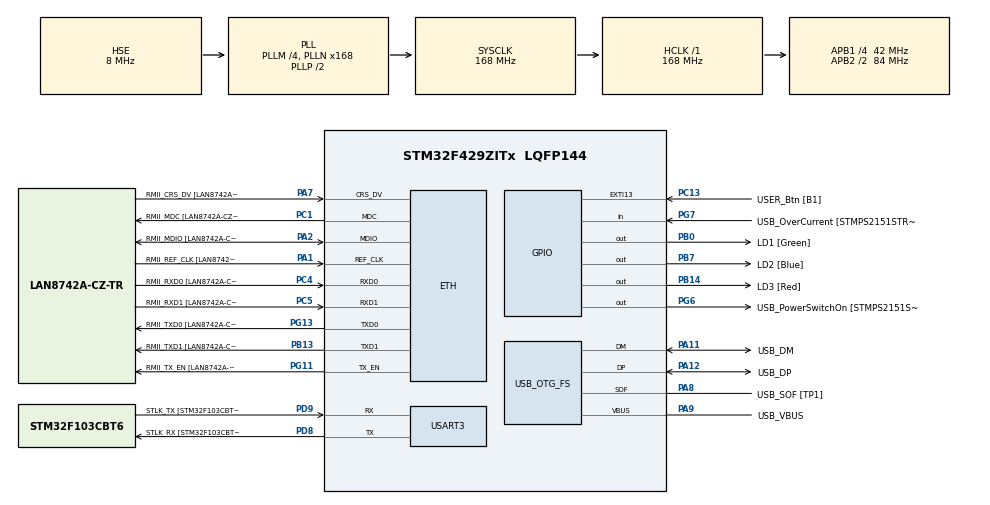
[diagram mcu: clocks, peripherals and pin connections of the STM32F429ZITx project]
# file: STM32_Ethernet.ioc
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ETH.MediaInterface=HAL_ETH_RMII_MODE
ETH.PHY_Name=LAN8742A_PHY_ADDRESS
ETH.PHY_Value=0
ETH.PhyAddress=0
LWIP.BSP.number=1
LWIP.IP_ADDRESS=192.168.000.067
LWIP.LWIP_DHCP=0
LWIP.NETMASK_ADDRESS=255.255.255.000
LWIP.Version=v2.1.2_Cube
LWIP0.BSP.STBoard=false
LWIP0.BSP.api=BSP_COMPONENT_DRIVER
LWIP0.BSP.component=LAN8742
LWIP0.BSP.instance=LAN8742
LWIP0.BSP.name=Driver_PHY
LWIP0.BSP.semaphore=S_LAN8742
LWIP0.BSP.solution=LAN8742
Mcu.Family=STM32F4
Mcu.Name=STM32F429ZITx
Mcu.Package=LQFP144
NVIC.ETH_IRQn=true\:0\:0\:false\:false\:true\:true\:true\:true
NVIC.PriorityGroup=NVIC_PRIORITYGROUP_4
PA1.GPIO_Label=RMII_REF_CLK [LAN8742A-CZ-TR_REFCLK0]
PA1.Mode=RMII
PA1.Signal=ETH_REF_CLK
PA10.GPIO_Label=USB_ID
PA10.Signal=USB_OTG_FS_ID
PA11.GPIO_Label=USB_DM
PA11.Mode=Device_Only
PA11.Signal=USB_OTG_FS_DM
PA12.GPIO_Label=USB_DP
PA12.Mode=Device_Only
PA12.Signal=USB_OTG_FS_DP
PA13.GPIO_Label=TMS
PA13.Mode=Serial_Wire
PA13.Signal=SYS_JTMS-SWDIO
PA14.GPIO_Label=TCK
PA14.Mode=Serial_Wire
PA14.Signal=SYS_JTCK-SWCLK
PA2.GPIO_Label=RMII_MDIO [LAN8742A-CZ-TR_MDIO]
PA2.Mode=RMII
PA2.Signal=ETH_MDIO
PA7.GPIO_Label=RMII_CRS_DV [LAN8742A-CZ-TR_CRS_DV]
PA7.Mode=RMII
PA7.Signal=ETH_CRS_DV
PA8.GPIO_Label=USB_SOF [TP1]
PA8.Mode=Activate_SOF_FS
PA8.Signal=USB_OTG_FS_SOF
PA9.GPIO_Label=USB_VBUS
PA9.Mode=Activate_VBUS
PA9.Signal=USB_OTG_FS_VBUS
PB0.GPIO_Label=LD1 [Green]
PB0.Signal=GPIO_Output
PB13.GPIO_Label=RMII_TXD1 [LAN8742A-CZ-TR_TXD1]
PB13.Mode=RMII
PB13.Signal=ETH_TXD1
PB14.GPIO_Label=LD3 [Red]
PB14.Signal=GPIO_Output
PB7.GPIO_Label=LD2 [Blue]
PB7.Signal=GPIO_Output
PC1.GPIO_Label=RMII_MDC [LAN8742A-CZ-TR_MDC]
PC1.Mode=RMII
PC1.Signal=ETH_MDC
PC13.GPIO_Label=USER_Btn [B1]
PC13.Signal=GPXTI13
PC14/OSC32_IN.Mode=LSE-External-Oscillator
PC14/OSC32_IN.Signal=RCC_OSC32_IN
PC15/OSC32_OUT.Mode=LSE-External-Oscillator
PC15/OSC32_OUT.Signal=RCC_OSC32_OUT
PC4.GPIO_Label=RMII_RXD0 [LAN8742A-CZ-TR_RXD0]
PC4.Mode=RMII
PC4.Signal=ETH_RXD0
PC5.GPIO_Label=RMII_RXD1 [LAN8742A-CZ-TR_RXD1]
PC5.Mode=RMII
PC5.Signal=ETH_RXD1
PD8.GPIO_Label=STLK_RX [STM32F103CBT6_PA3]
PD8.Mode=Asynchronous
PD8.Signal=USART3_TX
PD9.GPIO_Label=STLK_TX [STM32F103CBT6_PA2]
PD9.Mode=Asynchronous
PD9.Signal=USART3_RX
PG11.GPIO_Label=RMII_TX_EN [LAN8742A-CZ-TR_TXEN]
PG11.Mode=RMII
PG11.Signal=ETH_TX_EN
PG13.GPIO_Label=RMII_TXD0 [LAN8742A-CZ-TR_TXD0]
PG13.Mode=RMII
PG13.Signal=ETH_TXD0
PG6.GPIO_Label=USB_PowerSwitchOn [STMPS2151STR_EN]
PG6.Signal=GPIO_Output
PG7.GPIO_Label=USB_OverCurrent [STMPS2151STR_FAULT]
PG7.Signal=GPIO_Input
PH0/OSC_IN.GPIO_Label=MCO [STM32F103CBT6_PA8]
PH0/OSC_IN.Mode=HSE-External-Clock-Source
PH0/OSC_IN.Signal=RCC_OSC_IN
PH1/OSC_OUT.Mode=HSE-External-Clock-Source
PH1/OSC_OUT.Signal=RCC_OSC_OUT
ProjectManager.HeapSize=0x200
ProjectManager.StackSize=0x400
ProjectManager.TargetToolchain=CMake
RCC.48MHZClocksFreq_Value=48000000
RCC.AHBFreq_Value=168000000
RCC.APB1CLKDivider=RCC_HCLK_DIV4
RCC.APB1Freq_Value=42000000
RCC.APB1TimFreq_Value=84000000
RCC.APB2CLKDivider=RCC_HCLK_DIV2
RCC.APB2Freq_Value=84000000
RCC.APB2TimCLKDivider=2
RCC.APB2TimFreq_Value=168000000
RCC.CortexFreq_Value=168000000
RCC.HCLKFreq_Value=168000000
RCC.HSE_VALUE=8000000
RCC.HSI_VALUE=16000000
RCC.PLLM=4
RCC.PLLMUL=RCC_PLL_MUL9
RCC.PLLN=168
RCC.PLLQ=7
RCC.PRESCALERUSB=RCC_USBCLKSOURCE_PLL_DIV1_5
RCC.SYSCLKFreq_VALUE=168000000
RCC.SYSCLKSource=RCC_SYSCLKSOURCE_PLLCLK
RCC.SYSCLKSourceVirtual=RCC_SYSCLKSOURCE_PLLCLK
RCC.USBFreq_Value=48000000
RCC.VCOOutputFreq_Value=336000000
USART3.VirtualMode=VM_ASYNC
USB_OTG_FS.VirtualMode=Device_Only
VP_LWIP_VS_Enabled.Mode=Enabled
board=NUCLEO-F429ZI

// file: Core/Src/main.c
/* USER CODE BEGIN Header */
/**
  ******************************************************************************
  * @file           : main.c
  * @brief          : Main program body
  ******************************************************************************
  * @attention
  *
  * Copyright (c) 2026 STMicroelectronics.
  * All rights reserved.
  *
  * This software is licensed under terms that can be found in the LICENSE file
  * in the root directory of this software component.
  * If no LICENSE file comes with this software, it is provided AS-IS.
  *
  ******************************************************************************
  */
/* USER CODE END Header */
#include "main.h"
#include "lwip.h"

/* USER CODE BEGIN Includes */

#include "lwip/udp.h"
#include <string.h>
#include <stdio.h>

/* USER CODE END Includes */

UART_HandleTypeDef huart3;

PCD_HandleTypeDef hpcd_USB_OTG_FS;

/* USER CODE BEGIN PV */

static struct udp_pcb *udp_tx;    /* PCB = Protocol Control Block, LwIPs Verbindungsstruktur */
static ip_addr_t pc_ip;           /* Ziel-IP: der Laptop */
static uint32_t letzter_versand = 0;
static uint32_t zaehler = 0;

/* USER CODE END PV */

void SystemClock_Config(void);
static void MX_GPIO_Init(void);
static void MX_USART3_UART_Init(void);
static void MX_USB_OTG_FS_PCD_Init(void);

/* USER CODE BEGIN 0 */
/* USER CODE BEGIN 0 */
#define PC_PORT 5005

static void udp_sender_init(void)
{
  udp_tx = udp_new();
  IP4_ADDR(&pc_ip, 192, 168, 0, 20);   /* IP-Adresse des Laptops */
}

static void udp_send_text(char *text)
{
  uint32_t len = strlen(text);
  struct pbuf *p = pbuf_alloc(PBUF_TRANSPORT, len, PBUF_RAM);  /* pbuf = Paketpuffer */
  if (p != NULL)
  {
    pbuf_take(p, text, len);
    udp_sendto(udp_tx, p, &pc_ip, PC_PORT);
    pbuf_free(p);
  }
}
/* USER CODE END 0 */

/* USER CODE END 0 */

int main(void)
{

  /* MCU Configuration--------------------------------------------------------*/

  /* Reset of all peripherals, Initializes the Flash interface and the Systick. */
  HAL_Init();

  /* Configure the system clock */
  SystemClock_Config();

  /* Initialize all configured peripherals */
  MX_GPIO_Init();
  MX_USART3_UART_Init();
  MX_USB_OTG_FS_PCD_Init();
  MX_LWIP_Init();
  /* USER CODE BEGIN 2 */
  udp_sender_init();

  /* USER CODE END 2 */

  /* Infinite loop */
  /* USER CODE BEGIN WHILE */
  while (1)
  {
     MX_LWIP_Process();

  if (HAL_GetTick() - letzter_versand >= 100)   /* einmal pro Sekunde */
  {
    letzter_versand = HAL_GetTick();
    char msg[32];
    snprintf(msg, sizeof(msg), "Hallo vom STM32 LOLLLL: %lu", (unsigned long)zaehler++);
    udp_send_text(msg);
  }
    /* USER CODE END WHILE */

  }
}

void SystemClock_Config(void)
{
  RCC_OscInitTypeDef RCC_OscInitStruct = {0};
  RCC_ClkInitTypeDef RCC_ClkInitStruct = {0};

  /** Configure the main internal regulator output voltage
  */
  __HAL_RCC_PWR_CLK_ENABLE();
  __HAL_PWR_VOLTAGESCALING_CONFIG(PWR_REGULATOR_VOLTAGE_SCALE1);

  /** Initializes the RCC Oscillators according to the specified parameters
  * in the RCC_OscInitTypeDef structure.
  */
  RCC_OscInitStruct.OscillatorType = RCC_OSCILLATORTYPE_HSE;
  RCC_OscInitStruct.HSEState = RCC_HSE_BYPASS;
  RCC_OscInitStruct.PLL.PLLState = RCC_PLL_ON;
  RCC_OscInitStruct.PLL.PLLSource = RCC_PLLSOURCE_HSE;
  RCC_OscInitStruct.PLL.PLLM = 4;
  RCC_OscInitStruct.PLL.PLLN = 168;
  RCC_OscInitStruct.PLL.PLLP = RCC_PLLP_DIV2;
  RCC_OscInitStruct.PLL.PLLQ = 7;
  if (HAL_RCC_OscConfig(&RCC_OscInitStruct) != HAL_OK)
  {
    Error_Handler();
  }

  /** Initializes the CPU, AHB and APB buses clocks
  */
  RCC_ClkInitStruct.ClockType = RCC_CLOCKTYPE_HCLK|RCC_CLOCKTYPE_SYSCLK
                              |RCC_CLOCKTYPE_PCLK1|RCC_CLOCKTYPE_PCLK2;
  RCC_ClkInitStruct.SYSCLKSource = RCC_SYSCLKSOURCE_PLLCLK;
  RCC_ClkInitStruct.AHBCLKDivider = RCC_SYSCLK_DIV1;
  RCC_ClkInitStruct.APB1CLKDivider = RCC_HCLK_DIV4;
  RCC_ClkInitStruct.APB2CLKDivider = RCC_HCLK_DIV2;

  if (HAL_RCC_ClockConfig(&RCC_ClkInitStruct, FLASH_LATENCY_5) != HAL_OK)
  {
    Error_Handler();
  }
}

static void MX_USART3_UART_Init(void)
{

  huart3.Instance = USART3;
  huart3.Init.BaudRate = 115200;
  huart3.Init.WordLength = UART_WORDLENGTH_8B;
  huart3.Init.StopBits = UART_STOPBITS_1;
  huart3.Init.Parity = UART_PARITY_NONE;
  huart3.Init.Mode = UART_MODE_TX_RX;
  huart3.Init.HwFlowCtl = UART_HWCONTROL_NONE;
  huart3.Init.OverSampling = UART_OVERSAMPLING_16;
  if (HAL_UART_Init(&huart3) != HAL_OK)
  {
    Error_Handler();
  }

}

static void MX_USB_OTG_FS_PCD_Init(void)
{

  hpcd_USB_OTG_FS.Instance = USB_OTG_FS;
  hpcd_USB_OTG_FS.Init.dev_endpoints = 4;
  hpcd_USB_OTG_FS.Init.speed = PCD_SPEED_FULL;
  hpcd_USB_OTG_FS.Init.dma_enable = DISABLE;
  hpcd_USB_OTG_FS.Init.phy_itface = PCD_PHY_EMBEDDED;
  hpcd_USB_OTG_FS.Init.Sof_enable = ENABLE;
  hpcd_USB_OTG_FS.Init.low_power_enable = DISABLE;
  hpcd_USB_OTG_FS.Init.lpm_enable = DISABLE;
  hpcd_USB_OTG_FS.Init.vbus_sensing_enable = ENABLE;
  hpcd_USB_OTG_FS.Init.use_dedicated_ep1 = DISABLE;
  if (HAL_PCD_Init(&hpcd_USB_OTG_FS) != HAL_OK)
  {
    Error_Handler();
  }

}

static void MX_GPIO_Init(void)
{
  GPIO_InitTypeDef GPIO_InitStruct = {0};

  /* GPIO Ports Clock Enable */
  __HAL_RCC_GPIOC_CLK_ENABLE();
  __HAL_RCC_GPIOH_CLK_ENABLE();
  __HAL_RCC_GPIOA_CLK_ENABLE();
  __HAL_RCC_GPIOB_CLK_ENABLE();
  __HAL_RCC_GPIOD_CLK_ENABLE();
  __HAL_RCC_GPIOG_CLK_ENABLE();

  /*Configure GPIO pin Output Level */
  HAL_GPIO_WritePin(GPIOB, LD1_Pin|LD3_Pin|LD2_Pin, GPIO_PIN_RESET);

  /*Configure GPIO pin Output Level */
  HAL_GPIO_WritePin(USB_PowerSwitchOn_GPIO_Port, USB_PowerSwitchOn_Pin, GPIO_PIN_RESET);

  /*Configure GPIO pin : USER_Btn_Pin */
  GPIO_InitStruct.Pin = USER_Btn_Pin;
  GPIO_InitStruct.Mode = GPIO_MODE_IT_RISING;
  GPIO_InitStruct.Pull = GPIO_NOPULL;
  HAL_GPIO_Init(USER_Btn_GPIO_Port, &GPIO_InitStruct);

  /*Configure GPIO pins : LD1_Pin LD3_Pin LD2_Pin */
  GPIO_InitStruct.Pin = LD1_Pin|LD3_Pin|LD2_Pin;
  GPIO_InitStruct.Mode = GPIO_MODE_OUTPUT_PP;
  GPIO_InitStruct.Pull = GPIO_NOPULL;
  GPIO_InitStruct.Speed = GPIO_SPEED_FREQ_LOW;
  HAL_GPIO_Init(GPIOB, &GPIO_InitStruct);

  /*Configure GPIO pin : USB_PowerSwitchOn_Pin */
  GPIO_InitStruct.Pin = USB_PowerSwitchOn_Pin;
  GPIO_InitStruct.Mode = GPIO_MODE_OUTPUT_PP;
  GPIO_InitStruct.Pull = GPIO_NOPULL;
  GPIO_InitStruct.Speed = GPIO_SPEED_FREQ_LOW;
  HAL_GPIO_Init(USB_PowerSwitchOn_GPIO_Port, &GPIO_InitStruct);

  /*Configure GPIO pin : USB_OverCurrent_Pin */
  GPIO_InitStruct.Pin = USB_OverCurrent_Pin;
  GPIO_InitStruct.Mode = GPIO_MODE_INPUT;
  GPIO_InitStruct.Pull = GPIO_NOPULL;
  HAL_GPIO_Init(USB_OverCurrent_GPIO_Port, &GPIO_InitStruct);

}

void Error_Handler(void)
{
  __disable_irq();
  while (1)
  {
  }
}
